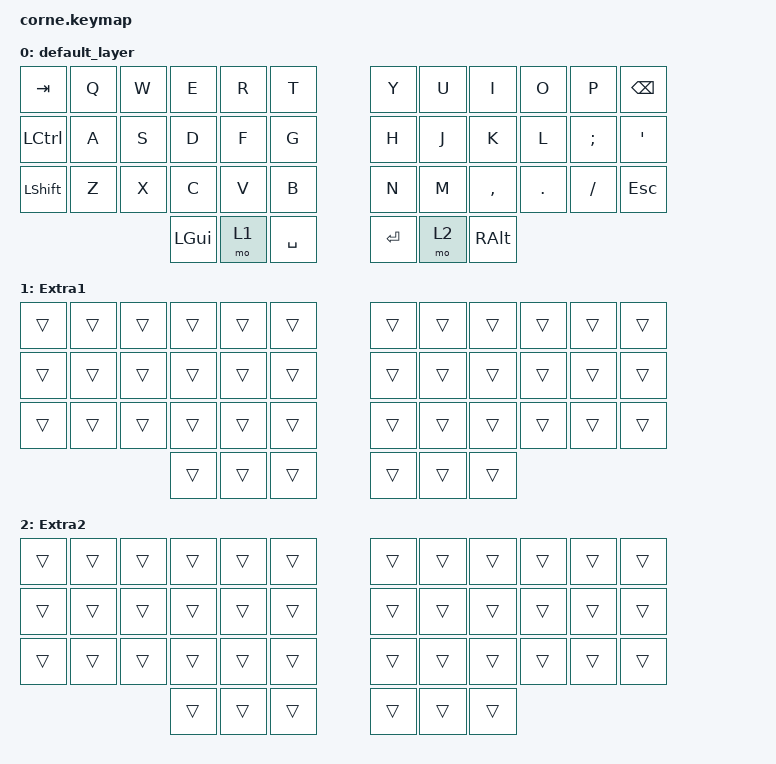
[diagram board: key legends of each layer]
#include <behaviors.dtsi>
#include <dt-bindings/zmk/keys.h>
#include <dt-bindings/zmk/bt.h>

/ {
    keymap {
        compatible = "zmk,keymap";

        default_layer {
            bindings = <
&kp TAB   &kp Q &kp W &kp E &kp R &kp T   &kp Y &kp U &kp I     &kp O   &kp P    &kp BSPC
&kp LCTRL &kp A &kp S &kp D &kp F &kp G   &kp H &kp J &kp K     &kp L   &kp SEMI &kp SQT
&kp LSHFT &kp Z &kp X &kp C &kp V &kp B   &kp N &kp M &kp COMMA &kp DOT &kp FSLH &kp ESC
               &kp LGUI &mo 1 &kp SPACE   &kp RET &mo 2 &kp RALT
            >;
        };
        extra_layer {
            display-name = "Extra1";
            bindings = <
&trans &trans &trans &trans &trans &trans   &trans &trans &trans &trans &trans &trans
&trans &trans &trans &trans &trans &trans   &trans &trans &trans &trans &trans &trans
&trans &trans &trans &trans &trans &trans   &trans &trans &trans &trans &trans &trans
                     &trans &trans &trans   &trans &trans &trans
            >;
        };
        extra_layer2 {
            display-name = "Extra2";
            bindings = <
&trans &trans &trans &trans &trans &trans   &trans &trans &trans &trans &trans &trans
&trans &trans &trans &trans &trans &trans   &trans &trans &trans &trans &trans &trans
&trans &trans &trans &trans &trans &trans   &trans &trans &trans &trans &trans &trans
                     &trans &trans &trans   &trans &trans &trans
            >;
        };
        extra_layer3 {
            status = "reserved";
        };
        extra_layer4 {
            status = "reserved";
        };
        extra_layer5 {
            status = "reserved";
        };
    };
};
&kscan0 {
    row-gpios
        = <&gpio1 4 (GPIO_ACTIVE_HIGH | GPIO_PULL_DOWN)> // Pin 104 (P1.04) - Row 0
        , <&gpio1 6 (GPIO_ACTIVE_HIGH | GPIO_PULL_DOWN)> // Pin 106 (P1.06) - Row 1
        , <&gpio1 0 (GPIO_ACTIVE_HIGH | GPIO_PULL_DOWN)> // Pin 100 (P1.00) - Row 2
        , <&gpio0 11 (GPIO_ACTIVE_HIGH | GPIO_PULL_DOWN)> // Pin 011 (P0.11) - Row 3
        ;
};
